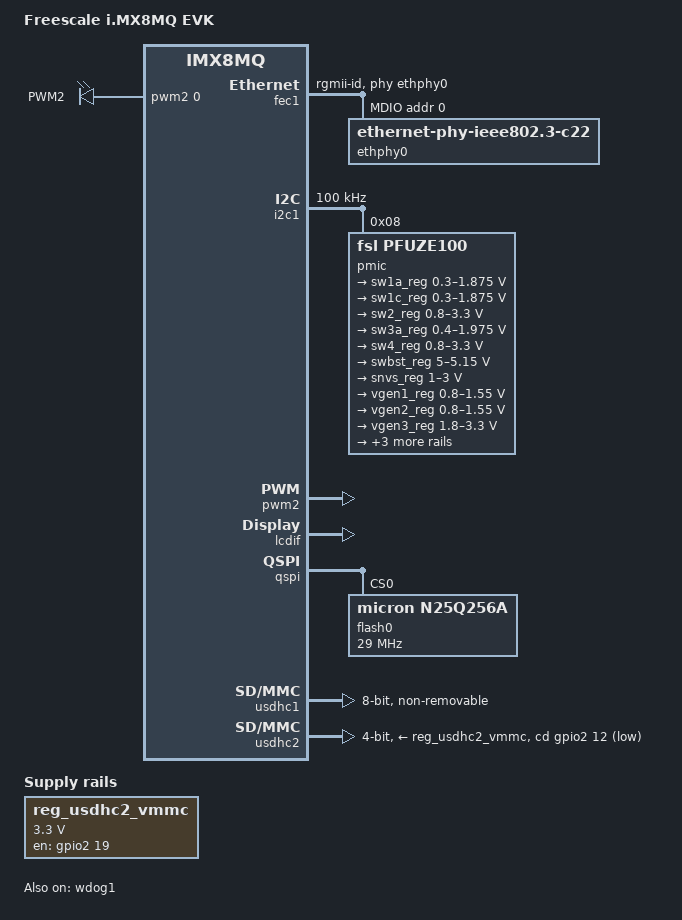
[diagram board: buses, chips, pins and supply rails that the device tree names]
// SPDX-License-Identifier: GPL-2.0+
/*
 * Copyright 2018 NXP
 */

/dts-v1/;

/* First 128KB is for PSCI ATF. */
/memreserve/ 0x40000000 0x00020000;

#include "fsl-imx8mq.dtsi"

/ {
	model = "Freescale i.MX8MQ EVK";
	compatible = "fsl,imx8mq-evk", "fsl,imx8mq";

	chosen {
		bootargs = "console=ttymxc0,115200 earlycon=ec_imx6q,0x30860000,115200";
	};

	regulators {
		compatible = "simple-bus";
		#address-cells = <1>;
		#size-cells = <0>;

		reg_usdhc2_vmmc: usdhc2_vmmc {
			compatible = "regulator-fixed";
			regulator-name = "VSD_3V3";
			regulator-min-microvolt = <3300000>;
			regulator-max-microvolt = <3300000>;
			gpio = <&gpio2 19 GPIO_ACTIVE_HIGH>;
			enable-active-high;
		};
	};

	pwmleds {
		compatible = "pwm-leds";

		ledpwm2 {
			label = "PWM2";
			pwms = <&pwm2 0 50000>;
			max-brightness = <255>;
		};
	};
};

&iomuxc {
	pinctrl-names = "default";

	imx8mq-evk {
		pinctrl_fec1: fec1grp {
			fsl,pins = <
				MX8MQ_IOMUXC_ENET_MDC_ENET1_MDC		0x3
				MX8MQ_IOMUXC_ENET_MDIO_ENET1_MDIO	0x23
				MX8MQ_IOMUXC_ENET_TD3_ENET1_RGMII_TD3	0x1f
				MX8MQ_IOMUXC_ENET_TD2_ENET1_RGMII_TD2	0x1f
				MX8MQ_IOMUXC_ENET_TD1_ENET1_RGMII_TD1	0x1f
				MX8MQ_IOMUXC_ENET_TD0_ENET1_RGMII_TD0	0x1f
				MX8MQ_IOMUXC_ENET_RD3_ENET1_RGMII_RD3	0x91
				MX8MQ_IOMUXC_ENET_RD2_ENET1_RGMII_RD2	0x91
				MX8MQ_IOMUXC_ENET_RD1_ENET1_RGMII_RD1	0x91
				MX8MQ_IOMUXC_ENET_RD0_ENET1_RGMII_RD0	0x91
				MX8MQ_IOMUXC_ENET_TXC_ENET1_RGMII_TXC	0x1f
				MX8MQ_IOMUXC_ENET_RXC_ENET1_RGMII_RXC	0x91
				MX8MQ_IOMUXC_ENET_RX_CTL_ENET1_RGMII_RX_CTL	0x91
				MX8MQ_IOMUXC_ENET_TX_CTL_ENET1_RGMII_TX_CTL	0x1f
				MX8MQ_IOMUXC_GPIO1_IO09_GPIO1_IO9	0x19
			>;
		};

		pinctrl_i2c1: i2c1grp {
			fsl,pins = <
				MX8MQ_IOMUXC_I2C1_SCL_I2C1_SCL	0x4000007f
				MX8MQ_IOMUXC_I2C1_SDA_I2C1_SDA	0x4000007f
			>;
		};

		pinctrl_i2c2: i2c2grp {
			fsl,pins = <
				MX8MQ_IOMUXC_I2C2_SCL_I2C2_SCL	0x4000007f
				MX8MQ_IOMUXC_I2C2_SDA_I2C2_SDA	0x4000007f
			>;
		};

		pinctrl_pwm2: pwm2grp {
			fsl,pins = <
				MX8MQ_IOMUXC_GPIO1_IO13_PWM2_OUT	0x16
			>;
		};

		pinctrl_qspi: qspigrp {
			fsl,pins = <
				MX8MQ_IOMUXC_NAND_ALE_QSPI_A_SCLK	0x82
				MX8MQ_IOMUXC_NAND_CE0_B_QSPI_A_SS0_B	0x82
				MX8MQ_IOMUXC_NAND_DATA00_QSPI_A_DATA0	0x82
				MX8MQ_IOMUXC_NAND_DATA01_QSPI_A_DATA1	0x82
				MX8MQ_IOMUXC_NAND_DATA02_QSPI_A_DATA2	0x82
				MX8MQ_IOMUXC_NAND_DATA03_QSPI_A_DATA3	0x82

			>;
		};

		pinctrl_usdhc1: usdhc1grp {
			fsl,pins = <
				MX8MQ_IOMUXC_SD1_CLK_USDHC1_CLK		0x83
				MX8MQ_IOMUXC_SD1_CMD_USDHC1_CMD		0xc3
				MX8MQ_IOMUXC_SD1_DATA0_USDHC1_DATA0	0xc3
				MX8MQ_IOMUXC_SD1_DATA1_USDHC1_DATA1	0xc3
				MX8MQ_IOMUXC_SD1_DATA2_USDHC1_DATA2	0xc3
				MX8MQ_IOMUXC_SD1_DATA3_USDHC1_DATA3	0xc3
				MX8MQ_IOMUXC_SD1_DATA4_USDHC1_DATA4	0xc3
				MX8MQ_IOMUXC_SD1_DATA5_USDHC1_DATA5	0xc3
				MX8MQ_IOMUXC_SD1_DATA6_USDHC1_DATA6	0xc3
				MX8MQ_IOMUXC_SD1_DATA7_USDHC1_DATA7	0xc3
				MX8MQ_IOMUXC_SD1_STROBE_USDHC1_STROBE	0x83
				MX8MQ_IOMUXC_SD1_RESET_B_USDHC1_RESET_B	0xc1
			>;
		};

		pinctrl_usdhc1_100mhz: usdhc1grp100mhz {
			fsl,pins = <
				MX8MQ_IOMUXC_SD1_CLK_USDHC1_CLK		0x85
				MX8MQ_IOMUXC_SD1_CMD_USDHC1_CMD		0xc5
				MX8MQ_IOMUXC_SD1_DATA0_USDHC1_DATA0	0xc5
				MX8MQ_IOMUXC_SD1_DATA1_USDHC1_DATA1	0xc5
				MX8MQ_IOMUXC_SD1_DATA2_USDHC1_DATA2	0xc5
				MX8MQ_IOMUXC_SD1_DATA3_USDHC1_DATA3	0xc5
				MX8MQ_IOMUXC_SD1_DATA4_USDHC1_DATA4	0xc5
				MX8MQ_IOMUXC_SD1_DATA5_USDHC1_DATA5	0xc5
				MX8MQ_IOMUXC_SD1_DATA6_USDHC1_DATA6	0xc5
				MX8MQ_IOMUXC_SD1_DATA7_USDHC1_DATA7	0xc5
				MX8MQ_IOMUXC_SD1_STROBE_USDHC1_STROBE	0x85
				MX8MQ_IOMUXC_SD1_RESET_B_USDHC1_RESET_B	0xc1
			>;
		};

		pinctrl_usdhc1_200mhz: usdhc1grp200mhz {
			fsl,pins = <
				MX8MQ_IOMUXC_SD1_CLK_USDHC1_CLK		0x87
				MX8MQ_IOMUXC_SD1_CMD_USDHC1_CMD		0xc7
				MX8MQ_IOMUXC_SD1_DATA0_USDHC1_DATA0	0xc7
				MX8MQ_IOMUXC_SD1_DATA1_USDHC1_DATA1	0xc7
				MX8MQ_IOMUXC_SD1_DATA2_USDHC1_DATA2	0xc7
				MX8MQ_IOMUXC_SD1_DATA3_USDHC1_DATA3	0xc7
				MX8MQ_IOMUXC_SD1_DATA4_USDHC1_DATA4	0xc7
				MX8MQ_IOMUXC_SD1_DATA5_USDHC1_DATA5	0xc7
				MX8MQ_IOMUXC_SD1_DATA6_USDHC1_DATA6	0xc7
				MX8MQ_IOMUXC_SD1_DATA7_USDHC1_DATA7	0xc7
				MX8MQ_IOMUXC_SD1_STROBE_USDHC1_STROBE	0x87
				MX8MQ_IOMUXC_SD1_RESET_B_USDHC1_RESET_B	0xc1
			>;
		};

		pinctrl_usdhc2_gpio: usdhc2grpgpio {
			fsl,pins = <
				MX8MQ_IOMUXC_SD2_CD_B_GPIO2_IO12	0x41
				MX8MQ_IOMUXC_SD2_RESET_B_GPIO2_IO19	0x41
			>;
		};

		pinctrl_usdhc2: usdhc2grp {
			fsl,pins = <
				MX8MQ_IOMUXC_SD2_CLK_USDHC2_CLK		0x83
				MX8MQ_IOMUXC_SD2_CMD_USDHC2_CMD		0xc3
				MX8MQ_IOMUXC_SD2_DATA0_USDHC2_DATA0	0xc3
				MX8MQ_IOMUXC_SD2_DATA1_USDHC2_DATA1	0xc3
				MX8MQ_IOMUXC_SD2_DATA2_USDHC2_DATA2	0xc3
				MX8MQ_IOMUXC_SD2_DATA3_USDHC2_DATA3	0xc3
				MX8MQ_IOMUXC_GPIO1_IO04_USDHC2_VSELECT	0xc1
			>;
		};

		pinctrl_usdhc2_100mhz: usdhc2grp100mhz {
			fsl,pins = <
				MX8MQ_IOMUXC_SD2_CLK_USDHC2_CLK		0x85
				MX8MQ_IOMUXC_SD2_CMD_USDHC2_CMD		0xc5
				MX8MQ_IOMUXC_SD2_DATA0_USDHC2_DATA0	0xc5
				MX8MQ_IOMUXC_SD2_DATA1_USDHC2_DATA1	0xc5
				MX8MQ_IOMUXC_SD2_DATA2_USDHC2_DATA2	0xc5
				MX8MQ_IOMUXC_SD2_DATA3_USDHC2_DATA3	0xc5
				MX8MQ_IOMUXC_GPIO1_IO04_USDHC2_VSELECT	0xc1
			>;
		};

		pinctrl_usdhc2_200mhz: usdhc2grp200mhz {
			fsl,pins = <
				MX8MQ_IOMUXC_SD2_CLK_USDHC2_CLK		0x87
				MX8MQ_IOMUXC_SD2_CMD_USDHC2_CMD		0xc7
				MX8MQ_IOMUXC_SD2_DATA0_USDHC2_DATA0	0xc7
				MX8MQ_IOMUXC_SD2_DATA1_USDHC2_DATA1	0xc7
				MX8MQ_IOMUXC_SD2_DATA2_USDHC2_DATA2	0xc7
				MX8MQ_IOMUXC_SD2_DATA3_USDHC2_DATA3	0xc7
				MX8MQ_IOMUXC_GPIO1_IO04_USDHC2_VSELECT	0xc1
			>;
		};

		pinctrl_sai2: sai2grp {
			fsl,pins = <
				MX8MQ_IOMUXC_SAI2_TXFS_SAI2_TX_SYNC	0xd6
				MX8MQ_IOMUXC_SAI2_TXC_SAI2_TX_BCLK	0xd6
				MX8MQ_IOMUXC_SAI2_MCLK_SAI2_MCLK	0xd6
				MX8MQ_IOMUXC_SAI2_TXD0_SAI2_TX_DATA0	0xd6
				MX8MQ_IOMUXC_GPIO1_IO08_GPIO1_IO8	0xd6
			>;
		};

		pinctrl_wdog: wdoggrp {
			fsl,pins = <
				MX8MQ_IOMUXC_GPIO1_IO02_WDOG1_WDOG_B 0xc6
			>;
		};
	};
};

&fec1 {
	pinctrl-names = "default";
	pinctrl-0 = <&pinctrl_fec1>;
	phy-mode = "rgmii-id";
	phy-handle = <&ethphy0>;
	fsl,magic-packet;
	status = "okay";

	mdio {
		#address-cells = <1>;
		#size-cells = <0>;

		ethphy0: ethernet-phy@0 {
			compatible = "ethernet-phy-ieee802.3-c22";
			reg = <0>;
			at803x,led-act-blind-workaround;
			at803x,eee-disabled;
		};
	};
};

&i2c1 {
	clock-frequency = <100000>;
	pinctrl-names = "default";
	pinctrl-0 = <&pinctrl_i2c1>;
	status = "okay";

	pmic: pfuze100@08 {
		compatible = "fsl,pfuze100";
		reg = <0x08>;

		regulators {
			sw1a_reg: sw1ab {
				regulator-min-microvolt = <300000>;
				regulator-max-microvolt = <1875000>;
				regulator-always-on;
			};

			sw1c_reg: sw1c {
				regulator-min-microvolt = <300000>;
				regulator-max-microvolt = <1875000>;
				regulator-always-on;
			};

			sw2_reg: sw2 {
				regulator-min-microvolt = <800000>;
				regulator-max-microvolt = <3300000>;
				regulator-always-on;
			};

			sw3a_reg: sw3ab {
				regulator-min-microvolt = <400000>;
				regulator-max-microvolt = <1975000>;
				regulator-always-on;
			};

			sw4_reg: sw4 {
				regulator-min-microvolt = <800000>;
				regulator-max-microvolt = <3300000>;
				regulator-always-on;
			};

			swbst_reg: swbst {
				regulator-min-microvolt = <5000000>;
				regulator-max-microvolt = <5150000>;
			};

			snvs_reg: vsnvs {
				regulator-min-microvolt = <1000000>;
				regulator-max-microvolt = <3000000>;
				regulator-always-on;
			};

			vref_reg: vrefddr {
				regulator-always-on;
			};

			vgen1_reg: vgen1 {
				regulator-min-microvolt = <800000>;
				regulator-max-microvolt = <1550000>;
			};

			vgen2_reg: vgen2 {
				regulator-min-microvolt = <800000>;
				regulator-max-microvolt = <1550000>;
				regulator-always-on;
			};

			vgen3_reg: vgen3 {
				regulator-min-microvolt = <1800000>;
				regulator-max-microvolt = <3300000>;
				regulator-always-on;
			};

			vgen4_reg: vgen4 {
				regulator-min-microvolt = <1800000>;
				regulator-max-microvolt = <3300000>;
				regulator-always-on;
			};

			vgen5_reg: vgen5 {
				regulator-min-microvolt = <1800000>;
				regulator-max-microvolt = <3300000>;
				regulator-always-on;
			};

			vgen6_reg: vgen6 {
				regulator-min-microvolt = <1800000>;
				regulator-max-microvolt = <3300000>;
			};
		};
	};
};

&i2c2 {
	clock-frequency = <100000>;
	pinctrl-names = "default";
	pinctrl-0 = <&pinctrl_i2c2>;
	status = "disabled";
};

&pwm2 {
	pinctrl-names = "default";
	pinctrl-0 = <&pinctrl_pwm2>;
	status = "okay";
};

&lcdif {
	status = "okay";
	disp-dev = "mipi_dsi_northwest";
	display = <&display0>;

	display0: display@0 {
		bits-per-pixel = <24>;
		bus-width = <24>;

		display-timings {
			native-mode = <&timing0>;
			timing0: timing0 {
			clock-frequency = <9200000>;
			hactive = <480>;
			vactive = <272>;
			hfront-porch = <8>;
			hback-porch = <4>;
			hsync-len = <41>;
			vback-porch = <2>;
			vfront-porch = <4>;
			vsync-len = <10>;

			hsync-active = <0>;
			vsync-active = <0>;
			de-active = <1>;
			pixelclk-active = <0>;
			};
		};
	};
};

&qspi {
	pinctrl-names = "default";
	pinctrl-0 = <&pinctrl_qspi>;
	status = "okay";

	flash0: n25q256a@0 {
		reg = <0>;
		#address-cells = <1>;
		#size-cells = <1>;
		compatible = "micron,n25q256a";
		spi-max-frequency = <29000000>;
		spi-nor,ddr-quad-read-dummy = <6>;
	};
};

&usdhc1 {
	pinctrl-names = "default", "state_100mhz", "state_200mhz";
	pinctrl-0 = <&pinctrl_usdhc1>;
	pinctrl-1 = <&pinctrl_usdhc1_100mhz>;
	pinctrl-2 = <&pinctrl_usdhc1_200mhz>;
	bus-width = <8>;
	non-removable;
	status = "okay";
};

&usdhc2 {
	pinctrl-names = "default", "state_100mhz", "state_200mhz";
	pinctrl-0 = <&pinctrl_usdhc2>, <&pinctrl_usdhc2_gpio>;
	pinctrl-1 = <&pinctrl_usdhc2_100mhz>, <&pinctrl_usdhc2_gpio>;
	pinctrl-2 = <&pinctrl_usdhc2_200mhz>, <&pinctrl_usdhc2_gpio>;
	bus-width = <4>;
	cd-gpios = <&gpio2 12 GPIO_ACTIVE_LOW>;
	vmmc-supply = <&reg_usdhc2_vmmc>;
	status = "okay";
};

&wdog1 {
	pinctrl-names = "default";
	pinctrl-0 = <&pinctrl_wdog>;
	fsl,ext-reset-output;
	status = "okay";
};
